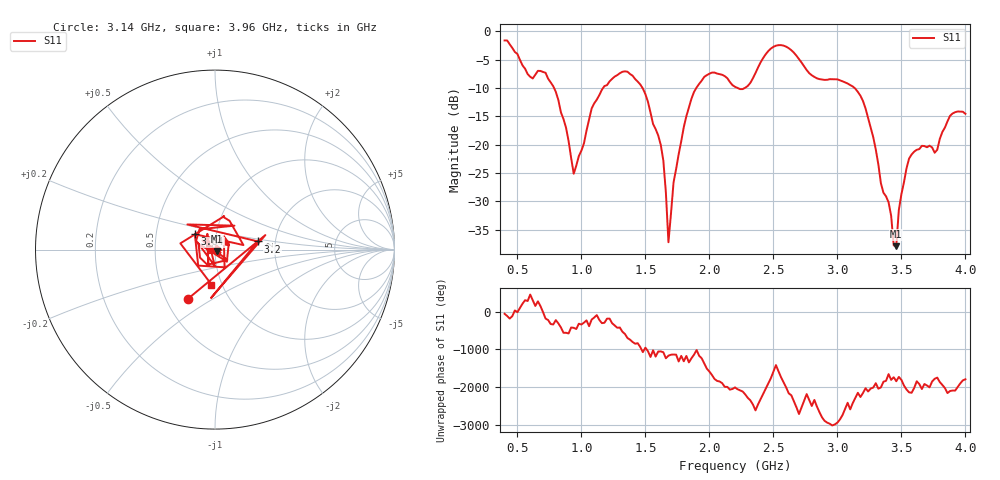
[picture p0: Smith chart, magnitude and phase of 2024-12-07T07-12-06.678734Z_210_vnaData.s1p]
!Created with skrf (http://scikit-rf.org).
# Hz S RI R 50.0
!freq ReS11 ImS11
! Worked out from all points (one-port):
!   181 points, 400 MHz to 4 GHz, reference 50 ohm
!   lowest |S11| = -37.9 dB at 3.46 GHz (marker M1), VSWR 1.03, Z = 51 - j0.801 ohm
!   |S11| at or under -10 dB: 786.3 MHz to 1.17 GHz (383.2 MHz wide, 39.2 % of centre); 1.478 GHz to 1.898 GHz (419.9 MHz wide, 24.9 % of centre); 3.134 GHz to end of sweep (the widest 3 of 4)
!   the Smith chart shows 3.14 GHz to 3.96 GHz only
!   S11 on the Smith chart (normalised r, x): 3.14 GHz: 0.65, -0.39; 3.2 GHz: 1.62, +0.16; 3.84 GHz: 0.79, +0.14; 3.96 GHz: 0.89, -0.36
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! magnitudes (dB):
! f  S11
! 400 MHz  -1.6
! 600 MHz  -8.0
! 720 MHz  -7.3
! 860 MHz  -15.5
! 940 MHz  -25.1
! 1.08 GHz  -13.6
! 1.3 GHz  -7.4
! 1.48 GHz  -10.1
! 1.6 GHz  -18.4
! 1.64 GHz  -22.8
! 1.68 GHz  -37.3
! 1.72 GHz  -26.7
! 1.76 GHz  -21.7
! 1.86 GHz  -11.9
! 1.96 GHz  -8.0
! 2.2 GHz  -9.8
! 2.5 GHz  -2.7
! 2.66 GHz  -3.8
! 3.1 GHz  -9.5
! 3.14 GHz  -10.1
! 3.2 GHz  -12.3
! 3.46 GHz  -37.9
! 3.48 GHz  -31.5
! 3.56 GHz  -22.5
! 3.76 GHz  -21.4
! 3.84 GHz  -17.0
! 3.96 GHz  -14.2
! 4 GHz  -14.6
